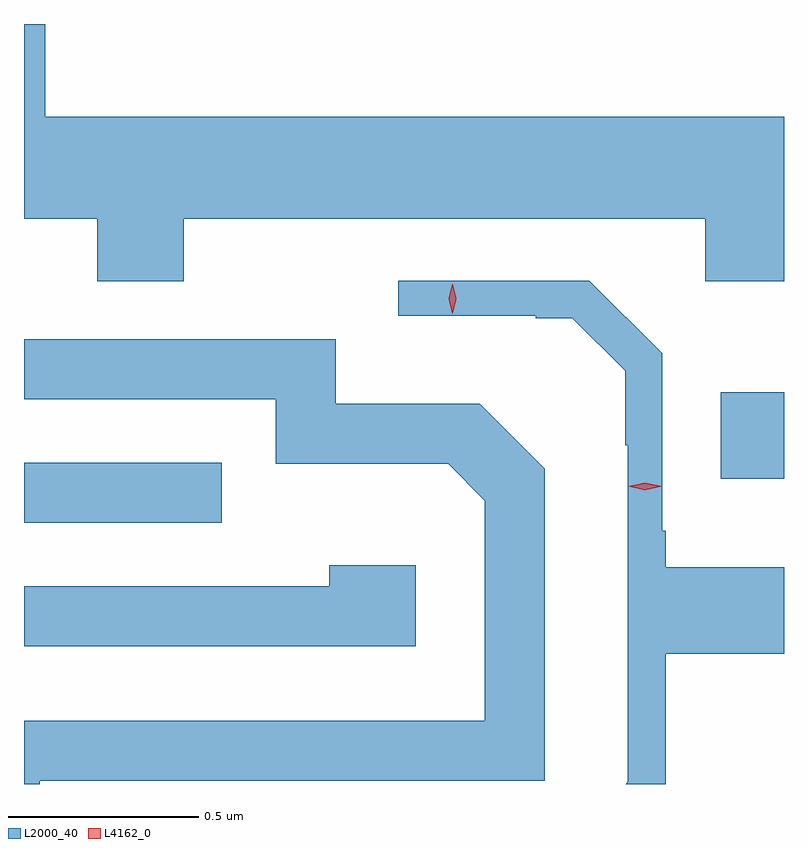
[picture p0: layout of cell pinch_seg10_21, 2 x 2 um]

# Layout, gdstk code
import gdstk
lib = gdstk.Library(unit=1e-6, precision=1e-09)
def R(c, l, rs):  # rectangles x0, y0, x1, y1
    for r in rs: c.add(gdstk.rectangle(r[:2], r[2:], *l))
def P(c, l, *ps):  # polygons
    for p in ps: c.add(gdstk.Polygon(p, *l))
L2000_40 = (2000, 40)
L4162_0 = (4162, 0)

pinch_seg10_21 = lib.new_cell('pinch_seg10_21')
R(pinch_seg10_21, L2000_40, [(656.858,2106.456,657.378,2106.614), (658.691,2106.571,658.858,2106.799)])
P(pinch_seg10_21, L2000_40, [(657.279,2107.256),(658.651,2107.256),(658.651,2107.091),(658.858,2107.091),(658.858,2107.524),(656.914,2107.524),(656.914,2107.768),(656.858,2107.768),(656.858,2107.256),(657.051,2107.256),(657.051,2107.091),(657.279,2107.091)],
  [(658.547,2106.111),(658.858,2106.111),(658.858,2106.339),(658.547,2106.339),(658.547,2106.435),(658.537,2106.435),(658.537,2106.901),(658.346,2107.092),(657.843,2107.092),(657.843,2107),(658.205,2107),(658.205,2106.994),(658.301,2106.994),(658.44,2106.855),(658.44,2106.659),(658.447,2106.659),(658.447,2105.774),(658.441,2105.768),(658.547,2105.768)],
  [(656.899,2105.776),(658.229,2105.776),(658.229,2106.597),(658.057,2106.769),(657.679,2106.769),(657.679,2106.939),(656.858,2106.939),(656.858,2106.781),(657.521,2106.781),(657.521,2106.611),(657.974,2106.611),(658.071,2106.514),(658.071,2105.934),(656.858,2105.934),(656.858,2105.768),(656.899,2105.768)],
  [(657.889,2106.344),(657.661,2106.344),(657.661,2106.289),(656.858,2106.289),(656.858,2106.131),(657.889,2106.131)])
P(pinch_seg10_21, L4162_0, [(657.985,2107.006),(657.985,2107.007),(657.976,2107.045),(657.985,2107.083),(657.986,2107.083),(657.986,2107.083),(657.995,2107.045),(657.986,2107.007)],
  [(658.492,2106.541),(658.448,2106.551),(658.447,2106.551),(658.448,2106.552),(658.492,2106.561),(658.537,2106.552),(658.538,2106.551),(658.537,2106.551)])

lib.write_gds('pinch_seg10_21.gds')
